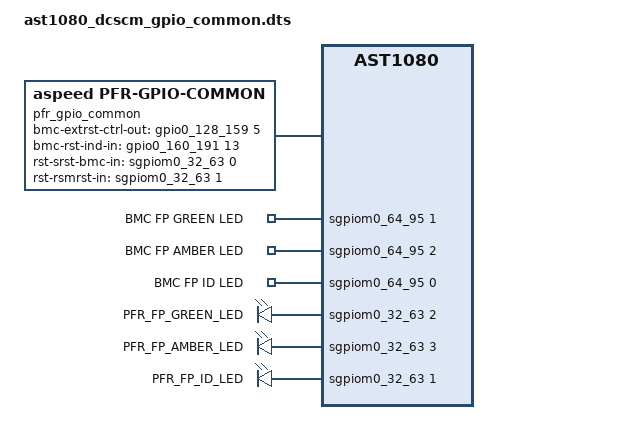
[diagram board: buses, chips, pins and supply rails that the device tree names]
#include <dt-bindings/gpio/gpio.h>

/ {
	pfr_gpio_common {
		compatible = "aspeed,pfr-gpio-common";
		// bmc-srst-ctrl-out-gpios = <&gpio0_96_127 5 0>; /* GPIO_M5 */
		bmc-extrst-ctrl-out-gpios = <&gpio0_128_159 5 0>; /* GPIO133 */
		bmc-rst-ind-in-gpios = <&gpio0_160_191 13 0>; /* GPIO173 */
		// bmc-cpu1-mux-sel-out-gpios = <&gpio0_0_31 26 0>; /* GPIO_D2 */
		// pch-rst-ctrl-out-gpios = <&gpio0_96_127 4 0>; /* GPIO_M4 */


		/* NOTICE:
		 * Normally, these two pin should be GPIO_ACTIVE_LOW, but currently this EVB
		 * doesn't produce correct power sequence by itself.
		 */
		rst-srst-bmc-in-gpios = <&sgpiom0_32_63 0 GPIO_ACTIVE_HIGH>; /* SGPI32 */
		rst-rsmrst-in-gpios = <&sgpiom0_32_63 1 GPIO_ACTIVE_HIGH>; /* SGPI33 */
	};

	aliases {
		fp-input0 = &bmc_fp_green_led_in;
		fp-input1 = &bmc_fp_amber_led_in;
		fp-input2 = &bmc_fp_id_led_in;
	};

	gpio_keys {
		compatible = "gpio-keys";
		bmc_fp_green_led_in: fp_green_led_in {
			gpios = <&sgpiom0_64_95 1 0>; /* SGPI65 */
			label = "BMC FP GREEN LED";
		};

		bmc_fp_amber_led_in: fp_amber_led_in {
			gpios = <&sgpiom0_64_95 2 0>; /* SGPI66 */
			label = "BMC FP AMBER LED";
		};

		bmc_fp_id_led_in: fp_id_led_in {
			gpios = <&sgpiom0_64_95 0 0>; /* SGPI64 */
			label = "BMC FP ID LED";
		};
	};

	leds {
		compatible = "gpio-leds";

		pfr_fp_green_led_out: green_led {
			gpios = <&sgpiom0_32_63 2 0>; /* SGPO34 */
			label = "PFR_FP_GREEN_LED";
		};

		pfr_fp_amber_led_out: amber_led {
			gpios = <&sgpiom0_32_63 3 0>; /* SGPO35 */
			label = "PFR_FP_AMBER_LED";
		};

		pfr_fp_id_led_out: id_led {
			gpios = <&sgpiom0_32_63 1 0>; /* SGPO33 */
			label = "PFR_FP_ID_LED";
		};
	};
};
